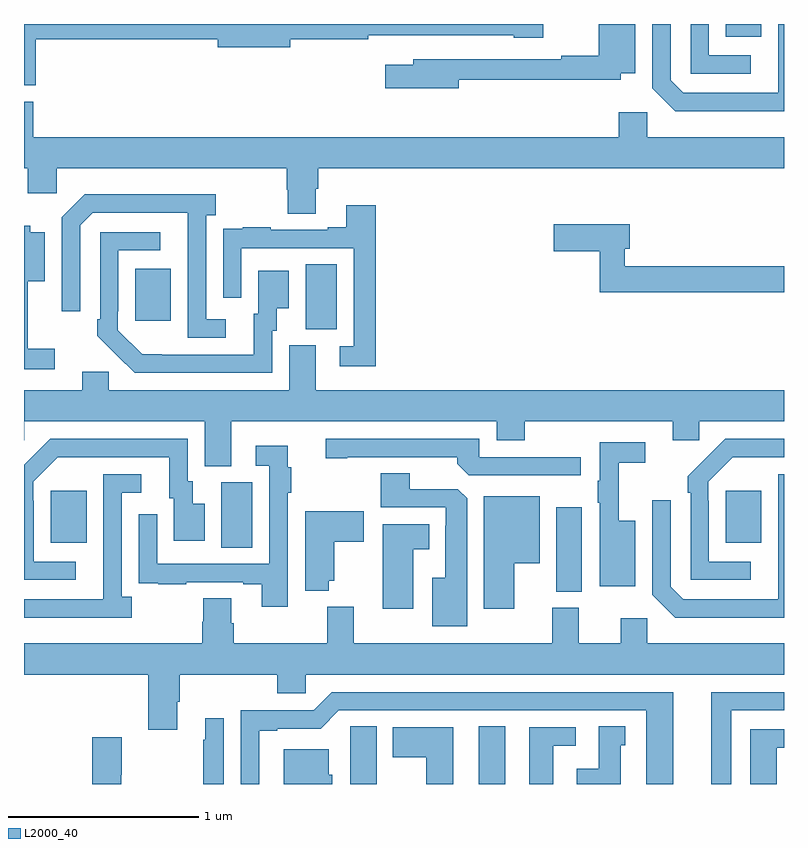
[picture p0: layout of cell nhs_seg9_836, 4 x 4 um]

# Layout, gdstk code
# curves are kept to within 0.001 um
import gdstk
lib = gdstk.Library(unit=1e-6, precision=1e-09)
def R(c, l, rs):  # rectangles x0, y0, x1, y1
    for r in rs: c.add(gdstk.rectangle(r[:2], r[2:], *l))
def P(c, l, *ps):  # polygons
    for p in ps: c.add(gdstk.Polygon(p, *l))
L2000_40 = (2000, 40)

nhs_seg9_836 = lib.new_cell('nhs_seg9_836')
R(nhs_seg9_836, L2000_40, [(157.394,1206.5,157.534,1206.803), (157.802,1207.513,157.936,1207.957), (156.038,1207.744,156.202,1208.088), (155.141,1207.769,155.329,1208.044), (158.693,1207.769,158.881,1208.044), (156.482,1208.893,156.646,1209.236), (155.585,1208.937,155.773,1209.211), (158.693,1210.433,158.881,1210.5)])
P(nhs_seg9_836, L2000_40, [(159,1210.5),(158.97,1210.5),(158.97,1210.337),(158.969,1210.337),(158.969,1210.137),(158.469,1210.137),(158.403,1210.203),(158.403,1210.5),(158.307,1210.5),(158.307,1210.161),(158.428,1210.04),(159,1210.04)],
  [(155.063,1210.42),(156.02,1210.42),(156.02,1210.378),(156.4,1210.378),(156.4,1210.42),(156.812,1210.42),(156.812,1210.44),(157.578,1210.44),(157.578,1210.427),(157.732,1210.427),(157.732,1210.5),(155,1210.5),(155,1210.177),(155.063,1210.177)],
  [(158.824,1210.335),(158.604,1210.335),(158.604,1210.5),(158.508,1210.5),(158.508,1210.239),(158.824,1210.239)],
  [(157.288,1210.206),(158.142,1210.206),(158.142,1210.241),(158.218,1210.241),(158.218,1210.498),(158.129,1210.498),(158.129,1210.5),(158.026,1210.5),(158.026,1210.334),(157.828,1210.334),(157.828,1210.314),(157.049,1210.314),(157.049,1210.285),(156.9,1210.285),(156.9,1210.163),(157.288,1210.163)],
  [(156.535,1209.634),(156.548,1209.634),(156.548,1209.74),(159,1209.74),(159,1209.904),(158.28,1209.904),(158.28,1210.036),(158.129,1210.036),(158.129,1209.904),(155.048,1209.904),(155.048,1210.092),(155,1210.092),(155,1209.74),(155.021,1209.74),(155.021,1209.609),(155.172,1209.609),(155.172,1209.74),(156.383,1209.74),(156.383,1209.627),(156.388,1209.627),(156.388,1209.502),(156.535,1209.502)],
  [(156.061,1208.946),(155.958,1208.946),(155.958,1209.494),(156.01,1209.494),(156.01,1209.604),(155.32,1209.604),(155.199,1209.483),(155.199,1208.988),(155.295,1208.988),(155.295,1209.441),(155.361,1209.507),(155.861,1209.507),(155.862,1208.85),(156.061,1208.85)],
  [(156.851,1209.547),(156.695,1209.547),(156.695,1209.43),(156.599,1209.43),(156.599,1209.417),(156.299,1209.417),(156.299,1209.43),(156.151,1209.43),(156.151,1209.423),(156.049,1209.423),(156.049,1209.314),(156.048,1209.314),(156.048,1209.06),(156.144,1209.06),(156.144,1209.321),(156.735,1209.321),(156.735,1208.805),(156.663,1208.805),(156.663,1208.7),(156.851,1208.7)],
  [(159,1209.224),(158.161,1209.224),(158.161,1209.317),(158.189,1209.317),(158.189,1209.447),(157.788,1209.447),(157.788,1209.305),(158.029,1209.305),(158.029,1209.088),(159,1209.088)],
  [(155.161,1208.791),(155.021,1208.791),(155.021,1209.146),(155.11,1209.146),(155.11,1209.403),(155.034,1209.403),(155.034,1209.439),(155,1209.439),(155,1208.682),(155.161,1208.682)],
  [(156.306,1208.886),(156.331,1208.886),(156.331,1209.005),(156.394,1209.005),(156.394,1209.202),(156.233,1209.202),(156.233,1208.976),(156.209,1208.976),(156.209,1208.76),(155.622,1208.761),(155.493,1208.889),(155.493,1208.989),(155.496,1208.989),(155.496,1209.309),(155.716,1209.309),(155.716,1209.405),(155.4,1209.405),(155.4,1208.947),(155.385,1208.947),(155.385,1208.859),(155.582,1208.664),(156.306,1208.664)],
  [(156.091,1208.408),(157.487,1208.408),(157.487,1208.309),(157.635,1208.309),(157.635,1208.408),(158.414,1208.408),(158.414,1208.31),(158.553,1208.31),(158.553,1208.408),(159,1208.408),(159,1208.572),(156.535,1208.572),(156.535,1208.808),(156.395,1208.808),(156.395,1208.572),(155.445,1208.572),(155.445,1208.67),(155.306,1208.67),(155.306,1208.572),(155,1208.572),(155,1208.31),(155.001,1208.31),(155.001,1208.408),(155.951,1208.408),(155.951,1208.173),(156.091,1208.173)],
  [(158.824,1207.671),(158.604,1207.671),(158.604,1207.991),(158.601,1207.991),(158.601,1208.091),(158.73,1208.22),(159,1208.22),(159,1208.316),(158.69,1208.316),(158.493,1208.121),(158.493,1208.033),(158.508,1208.033),(158.508,1207.575),(158.824,1207.575)],
  [(155.272,1207.671),(155.052,1207.671),(155.052,1207.991),(155.049,1207.991),(155.049,1208.091),(155.178,1208.22),(155.765,1208.22),(155.765,1208.004),(155.789,1208.004),(155.789,1207.779),(155.95,1207.779),(155.95,1207.975),(155.887,1207.975),(155.887,1208.094),(155.862,1208.094),(155.862,1208.316),(155.138,1208.316),(155,1208.18),(155,1207.575),(155.272,1207.575)],
  [(157.93,1208.22),(157.395,1208.22),(157.395,1208.316),(156.588,1208.316),(156.588,1208.215),(156.7,1208.215),(156.7,1208.22),(157.28,1208.22),(157.28,1208.186),(157.341,1208.124),(157.93,1208.124)],
  [(158.218,1207.885),(158.129,1207.885),(158.129,1208.19),(158.269,1208.19),(158.269,1208.298),(158.031,1208.298),(158.031,1208.095),(158.019,1208.095),(158.019,1207.981),(158.03,1207.981),(158.03,1207.541),(158.218,1207.541)],
  [(156.387,1208.032),(156.407,1208.032),(156.407,1208.168),(156.389,1208.168),(156.389,1208.281),(156.219,1208.281),(156.219,1208.175),(156.291,1208.175),(156.291,1207.659),(155.7,1207.659),(155.7,1207.921),(155.604,1207.921),(155.604,1207.666),(155.605,1207.666),(155.605,1207.557),(155.707,1207.557),(155.707,1207.551),(155.855,1207.551),(155.855,1207.563),(156.155,1207.563),(156.155,1207.551),(156.251,1207.551),(156.251,1207.434),(156.387,1207.434)],
  [(157.333,1208.003),(157.284,1208.052),(157.03,1208.052),(157.03,1208.135),(156.878,1208.135),(156.878,1207.956),(157.221,1207.956),(157.221,1207.859),(157.217,1207.859),(157.217,1207.585),(157.148,1207.585),(157.148,1207.331),(157.333,1207.331)],
  [(159,1208.13),(158.97,1208.13),(158.97,1207.673),(158.969,1207.673),(158.969,1207.473),(158.469,1207.473),(158.403,1207.539),(158.403,1207.993),(158.307,1207.993),(158.307,1207.497),(158.428,1207.376),(159,1207.376)],
  [(155.566,1207.486),(155.514,1207.486),(155.514,1208.034),(155.617,1208.034),(155.617,1208.13),(155.418,1208.13),(155.418,1207.673),(155.417,1207.673),(155.417,1207.473),(155,1207.473),(155,1207.376),(155.566,1207.376)],
  [(157.579,1207.661),(157.714,1207.661),(157.714,1208.014),(157.421,1208.014),(157.421,1207.422),(157.579,1207.422)],
  [(156.604,1207.571),(156.634,1207.571),(156.634,1207.774),(156.787,1207.774),(156.787,1207.936),(156.479,1207.936),(156.479,1207.517),(156.604,1207.517)],
  [(157.048,1207.736),(157.132,1207.736),(157.132,1207.867),(156.887,1207.867),(156.887,1207.422),(157.048,1207.422)],
  [(155.806,1206.934),(155.819,1206.934),(155.819,1207.076),(156.332,1207.076),(156.332,1206.978),(156.483,1206.978),(156.483,1207.076),(159,1207.076),(159,1207.24),(158.28,1207.24),(158.28,1207.372),(158.141,1207.372),(158.141,1207.24),(157.921,1207.24),(157.921,1207.428),(157.781,1207.428),(157.781,1207.24),(156.736,1207.24),(156.736,1207.432),(156.596,1207.432),(156.596,1207.24),(156.104,1207.24),(156.104,1207.346),(156.091,1207.346),(156.091,1207.478),(155.944,1207.478),(155.944,1207.353),(155.939,1207.353),(155.939,1207.24),(155,1207.24),(155,1207.076),(155.654,1207.076),(155.654,1206.786),(155.806,1206.786)],
  [(158.722,1206.888),(159,1206.888),(159,1206.984),(158.618,1206.984),(158.618,1206.5),(158.722,1206.5)],
  [(156.238,1206.78),(156.334,1206.78),(156.334,1206.792),(156.561,1206.792),(156.657,1206.888),(158.276,1206.888),(158.276,1206.5),(158.416,1206.5),(158.416,1206.984),(156.621,1206.984),(156.525,1206.888),(156.141,1206.888),(156.141,1206.5),(156.238,1206.5)],
  [(156.051,1206.847),(155.954,1206.847),(155.954,1206.734),(155.943,1206.734),(155.943,1206.5),(156.051,1206.5)],
  [(156.856,1206.803),(156.717,1206.803),(156.717,1206.692),(156.716,1206.692),(156.716,1206.5),(156.856,1206.5)],
  [(158.14,1206.705),(158.164,1206.705),(158.164,1206.803),(158.024,1206.803),(158.024,1206.58),(157.91,1206.58),(157.91,1206.5),(158.14,1206.5)],
  [(157.258,1206.799),(156.941,1206.799),(156.941,1206.64),(157.118,1206.64),(157.118,1206.5),(157.258,1206.5)],
  [(157.786,1206.702),(157.903,1206.702),(157.903,1206.798),(157.658,1206.798),(157.658,1206.5),(157.786,1206.5)],
  [(158.962,1206.692),(159,1206.692),(159,1206.789),(158.822,1206.789),(158.822,1206.5),(158.962,1206.5)],
  [(155.512,1206.55),(155.514,1206.55),(155.514,1206.745),(155.36,1206.745),(155.36,1206.5),(155.512,1206.5)],
  [(156.622,1206.549),(156.604,1206.549),(156.604,1206.682),(156.368,1206.682),(156.368,1206.5),(156.622,1206.5)])

lib.write_gds('nhs_seg9_836.gds')
